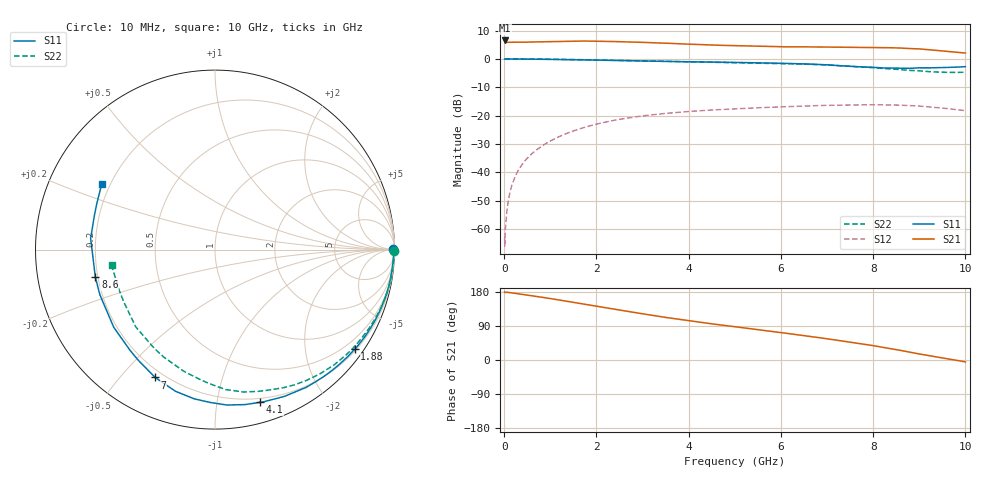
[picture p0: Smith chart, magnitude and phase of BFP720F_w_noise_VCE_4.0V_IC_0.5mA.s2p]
! Infineon Technologies  Discrete & RF Semiconductors
! BFP720F
! VCE =  4.0 V,  IC =  0.5 mA
! Common Emitter S-Parameters:  Jan 2016
# GHz  S  MA  R  50
!  f  S11  S21  S12  S22
! GHz  MAG  ANG  MAG  ANG  MAG  ANG  MAG  ANG
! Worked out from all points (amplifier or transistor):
!   233 points, 10 MHz to 10 GHz, reference 50 ohm
!   highest |S21| = 6.5 dB at 10 MHz (marker M1)
!   |S21| within 3 dB of that: start of sweep to 9.012 GHz
!   unconditionally stable (mu >= 1): nowhere
!   at 200 MHz: K = 0.02, MSG = 24.5 dB, |S12| = -43.1 dB
!   at 1.74 GHz: K = 0.12, MSG = 15.2 dB, |S12| = -24.1 dB
!   at 10 GHz: K = 0.81, MSG = 10.2 dB, |S12| = -18.3 dB
!   lowest NFmin = 0.54 dB at 450 MHz
!   S11 on the Smith chart (normalised r, x): 10 MHz: open; 1.88 GHz: 0.24, -3.11; 4.1 GHz: 0.17, -1.32; 7 GHz: 0.17, -0.62; 8.6 GHz: 0.19, -0.11; 10 GHz: 0.17, +0.26
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0.01  0.9898 0.1  2.113 179.5  0.0007 -20.1  1 -0.5
0.015  0.993 -0.1  2.05 178.9  0.0005 32.1  1 -0.7
0.02  0.9963 -0.3  1.988 178.2  0.0008 75.8  1 -0.9
0.06  0.9952 -1.1  1.959 178.8  0.0021 87.2  0.9983 -0.9
0.135  0.9949 -2.4  1.965 177.6  0.0048 86.9  0.9991 -1.9
0.26  0.9942 -4.7  1.971 175.4  0.0092 85.8  0.9981 -3.6
0.38  0.9927 -6.8  1.977 173.4  0.0134 84.2  0.9963 -5.4
0.58  0.9904 -10.4  1.983 169.8  0.0206 81.3  0.9941 -8.3
0.86  0.9854 -15.6  2.002 164.8  0.0306 77.0  0.9905 -12.2
1.68  0.9628 -31.6  2.062 148.6  0.06 63.1  0.9686 -24.7
1.88  0.9558 -35.5  2.057 144.5  0.0668 59.4  0.9621 -27.9
2.66  0.9292 -50.4  1.998 128.5  0.0903 45.2  0.9344 -39.5
3.4  0.9063 -63.0  1.905 114.3  0.1072 32.8  0.9083 -48.9
4.1  0.8871 -73.6  1.803 102.1  0.1196 22.4  0.886 -55.8
5.1  0.8644 -86.8  1.702 86.3  0.133 8.7  0.8549 -64.5
6.8  0.797 -111.2  1.622 59.4  0.1499 -13.9  0.7914 -82.8
7  0.7864 -115.1  1.621 56.0  0.1519 -16.7  0.782 -85.7
8  0.7111 -142.5  1.591 37.9  0.1557 -32.2  0.7001 -104.3
8.4  0.689 -158.5  1.571 29.5  0.1545 -39.6  0.6638 -115.4
8.6  0.6841 -167.0  1.552 25.2  0.1529 -43.3  0.6459 -121.6
9  0.6958 174.8  1.499 15.9  0.1477 -51.4  0.6168 -135.7
10  0.7291 150.0  1.268 -4.9  0.1223 -68.6  0.5827 -171.3
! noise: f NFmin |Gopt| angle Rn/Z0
0.45  0.54  0.9  6  0.96
0.9  0.77  0.88  13  1.01
2.4  1.03  0.86  32  0.7
5.5  1.54  0.73  97  0.46
